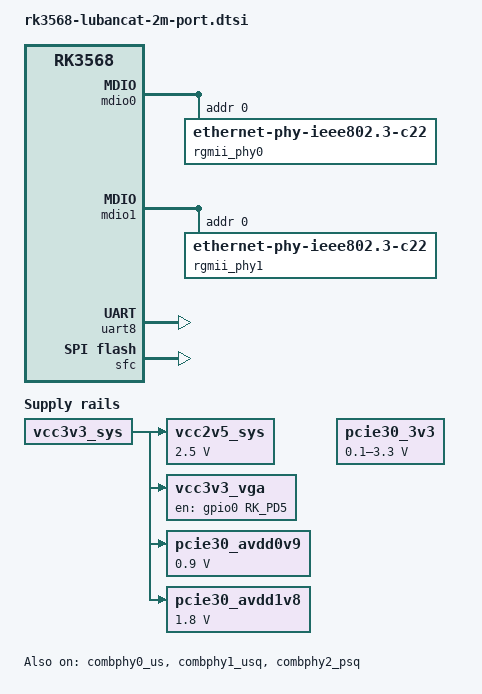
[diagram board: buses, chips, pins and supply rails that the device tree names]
// SPDX-License-Identifier: (GPL-2.0+ OR MIT)
/*
 * Copyright (c) 2020 Rockchip Electronics Co., Ltd.
 *
 */

/dts-v1/;

#include <dt-bindings/gpio/gpio.h>
#include <dt-bindings/pinctrl/rockchip.h>
#include "rk3568-lubancat-2m.dtsi"

/ {
	compatible = "rockchip,lubancat-2m-port", "rockchip,rk3568";

	vcc2v5_sys: vcc2v5-ddr {
		compatible = "regulator-fixed";
		regulator-name = "vcc2v5-sys";
		regulator-always-on;
		regulator-boot-on;
		regulator-min-microvolt = <2500000>;
		regulator-max-microvolt = <2500000>;
		vin-supply = <&vcc3v3_sys>;
	};

	vcc3v3_vga: vcc3v3-vga {
		compatible = "regulator-fixed";
		regulator-name = "vcc3v3_vga";
		regulator-always-on;
		regulator-boot-on;
		gpio = <&gpio0 RK_PD5 GPIO_ACTIVE_HIGH>;
		enable-active-high;
		vin-supply = <&vcc3v3_sys>;
	};

	pcie30_avdd0v9: pcie30-avdd0v9 {
		compatible = "regulator-fixed";
		regulator-name = "pcie30_avdd0v9";
		regulator-always-on;
		regulator-boot-on;
		regulator-min-microvolt = <900000>;
		regulator-max-microvolt = <900000>;
		vin-supply = <&vcc3v3_sys>;
	};

	pcie30_avdd1v8: pcie30-avdd1v8 {
		compatible = "regulator-fixed";
		regulator-name = "pcie30_avdd1v8";
		regulator-always-on;
		regulator-boot-on;
		regulator-min-microvolt = <1800000>;
		regulator-max-microvolt = <1800000>;
		vin-supply = <&vcc3v3_sys>;
	};

	pcie30_3v3: gpio-regulator {
		compatible = "regulator-gpio";
		regulator-name = "pcie30_3v3";
		regulator-min-microvolt = <100000>;
		regulator-max-microvolt = <3300000>;
		gpios = <&gpio0 RK_PD3 GPIO_ACTIVE_HIGH>;
		gpios-states = <0x1>;
		states = <100000 0x0
			  3300000 0x1>;
	};
};

&combphy0_us {
	status = "okay";
};

&combphy1_usq {
	status = "okay";
};

&combphy2_psq {
	status = "okay";
};

&gmac0 {
	phy-mode = "rgmii";
	clock_in_out = "input";

	snps,reset-gpio = <&gpio1 RK_PA1 GPIO_ACTIVE_LOW>;
	snps,reset-active-low;
	/* Reset time is 20ms, 100ms for rtl8211f */
	snps,reset-delays-us = <0 20000 100000>;

	assigned-clocks = <&cru SCLK_GMAC0_RX_TX>, <&cru SCLK_GMAC0>;
	assigned-clock-parents = <&cru SCLK_GMAC0_RGMII_SPEED>, <&gmac0_clkin>;

	pinctrl-names = "default";
	pinctrl-0 = <&gmac0_miim
			 &gmac0_tx_bus2
			 &gmac0_rx_bus2
			 &gmac0_rgmii_clk
			 &gmac0_rgmii_bus
			 &gmac0_clkinout>;

	tx_delay = <0x1c>;
	rx_delay = <0x0d>;

	phy-handle = <&rgmii_phy0>;
	status = "disabled";
};

&gmac1 {
	phy-mode = "rgmii";
	clock_in_out = "input";

	snps,reset-gpio = <&gpio0 RK_PC7 GPIO_ACTIVE_LOW>;
	snps,reset-active-low;
	/* Reset time is 20ms, 100ms for rtl8211f */
	snps,reset-delays-us = <0 20000 100000>;

	assigned-clocks = <&cru SCLK_GMAC1_RX_TX>, <&cru SCLK_GMAC1>;
	assigned-clock-parents = <&cru SCLK_GMAC1_RGMII_SPEED>, <&gmac1_clkin>;

	pinctrl-names = "default";
	pinctrl-0 = <&gmac1m1_miim
			 &gmac1m1_tx_bus2
			 &gmac1m1_rx_bus2
			 &gmac1m1_rgmii_clk
			 &gmac1m1_rgmii_bus
			 &gmac1m1_clkinout>;

	tx_delay = <0x20>;
	rx_delay = <0x00>;

	phy-handle = <&rgmii_phy1>;
	status = "disabled";
};

&mdio0 {
	rgmii_phy0: phy@0 {
		compatible = "ethernet-phy-ieee802.3-c22";
		reg = <0x0>;
	};
};

&mdio1 {
	rgmii_phy1: phy@0 {
		compatible = "ethernet-phy-ieee802.3-c22";
		reg = <0x0>;
	};
};

&pcie30phy {
	status = "disabled";
};

&pcie3x2 {
	reset-gpios = <&gpio2 RK_PD6 GPIO_ACTIVE_HIGH>;
	vpcie3v3-supply = <&pcie30_3v3>;
	status = "disabled";
};

&sata2 {
	status = "disabled";
};


&spdif_8ch {
	status = "disabled";
	pinctrl-names = "default";
	pinctrl-0 = <&spdifm1_tx>;
};




&uart8 {
	status = "okay";
	pinctrl-names = "default";
	pinctrl-0 = <&uart8m0_xfer &uart8m0_ctsn>;
};

&spi1 {
	status = "disabled";
	max-freq = <48000000>;
	dev-port = <0>;
	pinctrl-0 = <&spi1m1_pins>;
	pinctrl-1 = <&spi1m1_pins_hs>;

	spi_wk2xxx: spi_wk2xxx@00{
		status = "disabled";
		compatible = "lubancat,spi-wk2xxx";
		reg = <0x00>;
		spi-max-frequency = <10000000>;
		// power-gpio = <&pca9555 PCA_IO1_7 GPIO_ACTIVE_HIGH>;
		// reset-gpio = <&pca9555 PCA_IO1_1 GPIO_ACTIVE_HIGH>;
		irq-gpio = <&gpio0 RK_PA6 IRQ_TYPE_EDGE_FALLING>;
		cs-gpio = <&gpio3 RK_PA1 GPIO_ACTIVE_HIGH>;
		/* rk3399 driver support SPI_CPOL | SPI_CPHA | SPI_CS_HIGH */
		//spi-cpha;	 /* SPI mode: CPHA=1 */
		//spi-cpol;	 /* SPI mode: CPOL=1 */
		//spi-cs-high;
	};
};

&pinctrl {
	headphone {
		hp_det: hp-det {
			rockchip,pins = <3 RK_PC2 RK_FUNC_GPIO &pcfg_pull_down>;
		};
	};
	
	touch {
		touch_gpio: touch-gpio {
			rockchip,pins =
				<0 RK_PB5 RK_FUNC_GPIO &pcfg_pull_up>,
				<0 RK_PB6 RK_FUNC_GPIO &pcfg_pull_none>;
		};
	};
};

&sfc{
	pinctrl-names = "default";
	pinctrl-0 = <&fspi_pins>;
	assigned-clock-rates = <50000000>;
	status = "okay";
};
